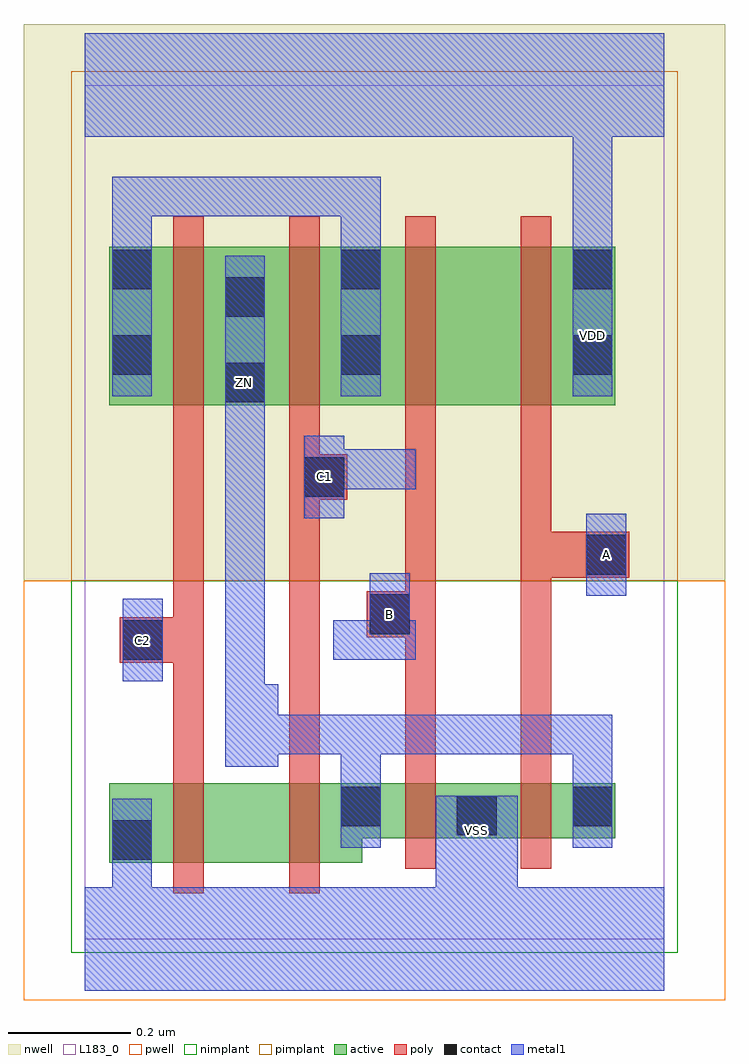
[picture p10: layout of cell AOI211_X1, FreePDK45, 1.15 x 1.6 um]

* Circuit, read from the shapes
.subckt AOI211_X1 A B C1 C2 VDD VSS ZN
M1 n1 C2 VSS VSUBS nfet w=0.13u l=0.05u
M2 ZN C1 n1 VSUBS nfet w=0.13u l=0.05u
M3 VSS B ZN VSUBS nfet w=0.09u l=0.05u
M4 ZN A VSS VSUBS nfet w=0.09u l=0.05u
M5 ZN C2 n2 n3 pfet w=0.26u l=0.05u
M6 n2 C1 ZN n3 pfet w=0.26u l=0.05u
M7 n4 B n2 n3 pfet w=0.26u l=0.05u
M8 VDD A n4 n3 pfet w=0.26u l=0.05u
.ends

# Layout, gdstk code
import gdstk
lib = gdstk.Library(unit=1e-6, precision=1e-10)
def R(c, l, rs):  # rectangles x0, y0, x1, y1
    for r in rs: c.add(gdstk.rectangle(r[:2], r[2:], *l))
def P(c, l, *ps):  # polygons
    for p in ps: c.add(gdstk.Polygon(p, *l))
active = (1, 0)
pwell = (2, 0)
nwell = (3, 0)
nimplant = (4, 0)
pimplant = (5, 0)
poly = (9, 0)
contact = (10, 0)
metal1 = (11, 0)
L183_0 = (183, 0)

aoi211_x1 = lib.new_cell('AOI211_X1')
R(aoi211_x1, active, [(0.04,0.875,0.87,1.135)])
P(aoi211_x1, active, [(0.04,0.125),(0.455,0.125),(0.455,0.165),(0.87,0.165),(0.87,0.255),(0.04,0.255)])
R(aoi211_x1, pwell, [(-0.1,-0.1,1.05,0.5875)])
R(aoi211_x1, nwell, [(-0.1,0.5875,1.05,1.5)])
R(aoi211_x1, nimplant, [(-0.0225,-0.0225,0.9725,0.5875)])
R(aoi211_x1, pimplant, [(-0.0225,0.5875,0.9725,1.4225)])
P(aoi211_x1, poly, [(0.0575,0.4525),(0.145,0.4525),(0.145,0.075),(0.195,0.075),(0.195,0.63),(0.195,1.185),(0.145,1.185),(0.145,0.63),(0.145,0.5275),(0.0575,0.5275)],
  [(0.335,0.075),(0.385,0.075),(0.385,0.6875),(0.385,0.705),(0.385,0.72),(0.43,0.72),(0.43,0.795),(0.385,0.795),(0.385,0.8725),(0.385,1.185),(0.335,1.185),(0.335,0.8725),(0.335,0.705),(0.335,0.6875)],
  [(0.4625,0.495),(0.525,0.495),(0.525,0.115),(0.575,0.115),(0.575,0.495),(0.575,0.63),(0.575,1.185),(0.525,1.185),(0.525,0.63),(0.525,0.57),(0.4625,0.57)],
  [(0.715,0.115),(0.765,0.115),(0.765,0.5075),(0.765,0.5925),(0.8925,0.5925),(0.8925,0.6675),(0.765,0.6675),(0.765,1.185),(0.715,1.185),(0.715,0.63),(0.715,0.5075)])
R(aoi211_x1, contact, [(0.045,0.13,0.11,0.195), (0.61,0.17,0.675,0.235), (0.42,0.185,0.485,0.25), (0.8,0.185,0.865,0.25), (0.0625,0.4575,0.1275,0.5225), (0.4675,0.5,0.5325,0.565), (0.8225,0.5975,0.8875,0.6625), (0.36,0.725,0.425,0.79), (0.23,0.88,0.295,0.945), (0.045,0.925,0.11,0.99), (0.42,0.925,0.485,0.99), (0.8,0.925,0.865,0.99), (0.23,1.02,0.295,1.085), (0.045,1.065,0.11,1.13), (0.42,1.065,0.485,1.13), (0.8,1.065,0.865,1.13)])
R(aoi211_x1, metal1, [(0.0625,0.4225,0.1275,0.5575), (0.8225,0.5625,0.8875,0.6975)])
P(aoi211_x1, metal1, [(0.4075,0.4575),(0.5425,0.4575),(0.5425,0.5225),(0.5325,0.5225),(0.5325,0.6),(0.4675,0.6),(0.4675,0.5225),(0.4075,0.5225)],
  [(0.36,0.69),(0.425,0.69),(0.425,0.7375),(0.5425,0.7375),(0.5425,0.8025),(0.425,0.8025),(0.425,0.825),(0.36,0.825),(0.36,0.8025),(0.36,0.7375)],
  [(0.23,0.2825),(0.3175,0.2825),(0.3175,0.3025),(0.42,0.3025),(0.42,0.15),(0.485,0.15),(0.485,0.3025),(0.8,0.3025),(0.8,0.15),(0.865,0.15),(0.865,0.3675),(0.8,0.3675),(0.485,0.3675),(0.3175,0.3675),(0.3175,0.4175),(0.295,0.4175),(0.295,1.12),(0.23,1.12),(0.23,0.4175)],
  [(0,-0.085),(0.95,-0.085),(0.95,0.085),(0.71,0.085),(0.71,0.235),(0.575,0.235),(0.575,0.085),(0.11,0.085),(0.11,0.23),(0.045,0.23),(0.045,0.085),(0,0.085)],
  [(0,1.315),(0.8,1.315),(0.8,1.3075),(0.8,1.0825),(0.8,0.89),(0.865,0.89),(0.865,1.0825),(0.865,1.3075),(0.865,1.315),(0.95,1.315),(0.95,1.485),(0,1.485)],
  [(0.045,0.89),(0.11,0.89),(0.11,1.185),(0.42,1.185),(0.42,0.89),(0.485,0.89),(0.485,1.25),(0.045,1.25)])
R(aoi211_x1, L183_0, [(0,0,0.95,1.4)])
aoi211_x1.add(gdstk.Label('A', (0.855,0.63), layer=11, texttype=0))
aoi211_x1.add(gdstk.Label('B', (0.5,0.5325), layer=11, texttype=0))
aoi211_x1.add(gdstk.Label('C1', (0.3925,0.7575), layer=11, texttype=0))
aoi211_x1.add(gdstk.Label('C2', (0.095,0.49), layer=11, texttype=0))
aoi211_x1.add(gdstk.Label('VDD', (0.8325,0.99), layer=11, texttype=0))
aoi211_x1.add(gdstk.Label('VSS', (0.6425,0.1775), layer=11, texttype=0))
aoi211_x1.add(gdstk.Label('ZN', (0.2625,0.9125), layer=11, texttype=0))

lib.write_gds('AOI211_X1.gds')
